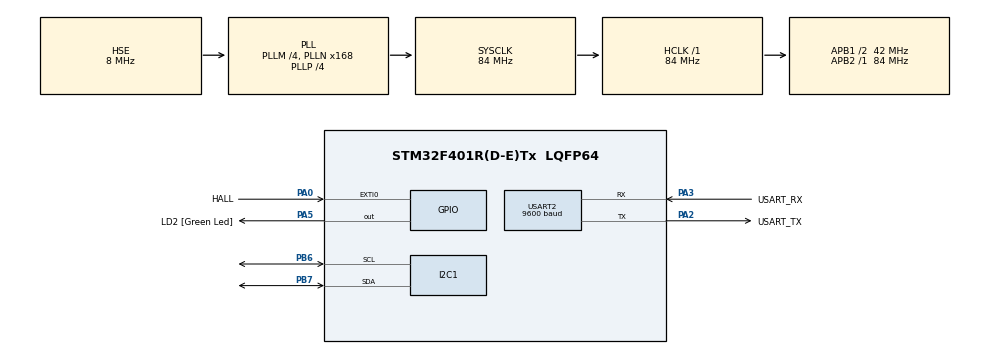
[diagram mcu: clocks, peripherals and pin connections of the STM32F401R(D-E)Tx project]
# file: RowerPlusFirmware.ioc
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I2C1.I2C_Mode=I2C_Fast
Mcu.Family=STM32F4
Mcu.Name=STM32F401R(D-E)Tx
Mcu.Package=LQFP64
NVIC.EXTI0_IRQn=true\:0\:2\:false\:false\:true\:true\:true\:true
NVIC.PriorityGroup=NVIC_PRIORITYGROUP_0
NVIC.TIM1_UP_TIM10_IRQn=true\:0\:1\:false\:false\:true\:true\:true\:true
PA0-WKUP.GPIO_Label=HALL
PA0-WKUP.GPIO_ModeDefaultEXTI=GPIO_MODE_IT_RISING_FALLING
PA0-WKUP.GPIO_PuPd=GPIO_PULLUP
PA0-WKUP.Signal=GPXTI0
PA2.GPIO_Label=USART_TX
PA2.GPIO_Mode=GPIO_MODE_AF_PP
PA2.GPIO_PuPd=GPIO_NOPULL
PA2.GPIO_Speed=GPIO_SPEED_FREQ_LOW
PA2.Mode=Asynchronous
PA2.Signal=USART2_TX
PA3.GPIO_Label=USART_RX
PA3.GPIO_Mode=GPIO_MODE_AF_PP
PA3.GPIO_PuPd=GPIO_NOPULL
PA3.GPIO_Speed=GPIO_SPEED_FREQ_LOW
PA3.Mode=Asynchronous
PA3.Signal=USART2_RX
PA5.GPIO_Label=LD2 [Green Led]
PA5.GPIO_Mode=GPIO_MODE_OUTPUT_PP
PA5.GPIO_PuPd=GPIO_NOPULL
PA5.GPIO_Speed=GPIO_SPEED_FREQ_LOW
PA5.Signal=GPIO_Output
PB6.Mode=I2C
PB6.Signal=I2C1_SCL
PB7.Mode=I2C
PB7.Signal=I2C1_SDA
PH0\ -\ OSC_IN.Mode=HSE-External-Oscillator
PH0\ -\ OSC_IN.Signal=RCC_OSC_IN
PH1\ -\ OSC_OUT.Mode=HSE-External-Oscillator
PH1\ -\ OSC_OUT.Signal=RCC_OSC_OUT
ProjectManager.HeapSize=0x200
ProjectManager.StackSize=0x400
ProjectManager.TargetToolchain=STM32CubeIDE
RCC.48MHZClocksFreq_Value=48000000
RCC.AHBFreq_Value=84000000
RCC.APB1CLKDivider=RCC_HCLK_DIV2
RCC.APB1Freq_Value=42000000
RCC.APB1TimFreq_Value=84000000
RCC.APB2Freq_Value=84000000
RCC.APB2TimFreq_Value=84000000
RCC.CortexFreq_Value=84000000
RCC.HCLKFreq_Value=84000000
RCC.HSE_Timout=100
RCC.HSE_VALUE=8000000
RCC.HSI_VALUE=16000000
RCC.LSE_VALUE=32768
RCC.PLLM=4
RCC.PLLN=168
RCC.PLLP=RCC_PLLP_DIV4
RCC.PLLQ=7
RCC.PLLSourceVirtual=RCC_PLLSOURCE_HSE
RCC.SYSCLKFreq_VALUE=84000000
RCC.SYSCLKSource=RCC_SYSCLKSOURCE_PLLCLK
RCC.VCOOutputFreq_Value=336000000
TIM1.Period=999
TIM1.Prescaler=83
USART2.BaudRate=9600
USART2.VirtualMode=VM_ASYNC
VP_TIM1_VS_ClockSourceINT.Mode=Internal
board=NUCLEO-F401RE

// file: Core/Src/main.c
/* USER CODE BEGIN Header */
/**
  ******************************************************************************
  * @file           : main.c
  * @brief          : Main program body
  ******************************************************************************
  * @attention
  *
  * Copyright (c) 2022 STMicroelectronics.
  * All rights reserved.
  *
  * This software is licensed under terms that can be found in the LICENSE file
  * in the root directory of this software component.
  * If no LICENSE file comes with this software, it is provided AS-IS.
  *
  ******************************************************************************
  */
/* USER CODE END Header */
#include "main.h"

 I2C_HandleTypeDef hi2c1;

TIM_HandleTypeDef htim1;

UART_HandleTypeDef huart2;

/* USER CODE BEGIN PV */
hall_parser_t hall_parser;
storage_data_t storage_data;

out_data_t out_data ={
		.bt = {'B', 'T', 0, 0},
		.energy = 0.0f,
		.mean_power = 0.0f,
		.distance = 0.0f,
		.checksum = 0,
		.pd = {0,0},
		.et = {'E', 'T', 0, 0},
};

BOOL hallIntermittentFlag = FALSE;
/* USER CODE END PV */

void SystemClock_Config(void);
static void MX_GPIO_Init(void);
static void MX_USART2_UART_Init(void);
static void MX_TIM1_Init(void);
static void MX_I2C1_Init(void);
/* USER CODE BEGIN PFP */
void ergometer_stroke(ergometer_stroke_params_t* stroke_params);
void params_received(damping_constants_t* damping_constants);
/* USER CODE END PFP */

int main(void)
{

  /* MCU Configuration--------------------------------------------------------*/

  /* Reset of all peripherals, Initializes the Flash interface and the Systick. */
  HAL_Init();

  /* Configure the system clock */
  SystemClock_Config();

  /* Initialize all configured peripherals */
  MX_GPIO_Init();
  MX_USART2_UART_Init();
  MX_TIM1_Init();
  MX_I2C1_Init();
  /* USER CODE BEGIN 2 */
	hall_parser_init();
	memset(&hall_parser, 0, sizeof(hall_parser_t));

	// We check if we have the parameters stored inside the EEPROM
	// If that's the case, we use them straight away
	if(storage_read(&storage_data))
	{
		hall_parser.damping_constants.ka = storage_data.ka;
		hall_parser.damping_constants.km = storage_data.km;
		hall_parser.damping_constants.ks = storage_data.ks;
		hall_parser.damping_constants.has_params = TRUE;
	}

	hall_parser.callback = ergometer_stroke;
	hall_parser.damping_params_callback = params_received;
	hall_parser.params.I = MOMENT_OF_INERTIA;

	HAL_TIM_Base_Start_IT(&htim1);
  /* USER CODE END 2 */

  /* Infinite loop */
  while (1)
  {

  }
}

void SystemClock_Config(void)
{
  RCC_OscInitTypeDef RCC_OscInitStruct = {0};
  RCC_ClkInitTypeDef RCC_ClkInitStruct = {0};

  /** Configure the main internal regulator output voltage
  */
  __HAL_RCC_PWR_CLK_ENABLE();
  __HAL_PWR_VOLTAGESCALING_CONFIG(PWR_REGULATOR_VOLTAGE_SCALE2);

  /** Initializes the RCC Oscillators according to the specified parameters
  * in the RCC_OscInitTypeDef structure.
  */
  RCC_OscInitStruct.OscillatorType = RCC_OSCILLATORTYPE_HSE;
  RCC_OscInitStruct.HSEState = RCC_HSE_ON;
  RCC_OscInitStruct.PLL.PLLState = RCC_PLL_ON;
  RCC_OscInitStruct.PLL.PLLSource = RCC_PLLSOURCE_HSE;
  RCC_OscInitStruct.PLL.PLLM = 4;
  RCC_OscInitStruct.PLL.PLLN = 168;
  RCC_OscInitStruct.PLL.PLLP = RCC_PLLP_DIV4;
  RCC_OscInitStruct.PLL.PLLQ = 7;
  if (HAL_RCC_OscConfig(&RCC_OscInitStruct) != HAL_OK)
  {
    Error_Handler();
  }

  /** Initializes the CPU, AHB and APB buses clocks
  */
  RCC_ClkInitStruct.ClockType = RCC_CLOCKTYPE_HCLK|RCC_CLOCKTYPE_SYSCLK
                              |RCC_CLOCKTYPE_PCLK1|RCC_CLOCKTYPE_PCLK2;
  RCC_ClkInitStruct.SYSCLKSource = RCC_SYSCLKSOURCE_PLLCLK;
  RCC_ClkInitStruct.AHBCLKDivider = RCC_SYSCLK_DIV1;
  RCC_ClkInitStruct.APB1CLKDivider = RCC_HCLK_DIV2;
  RCC_ClkInitStruct.APB2CLKDivider = RCC_HCLK_DIV1;

  if (HAL_RCC_ClockConfig(&RCC_ClkInitStruct, FLASH_LATENCY_2) != HAL_OK)
  {
    Error_Handler();
  }
}

static void MX_I2C1_Init(void)
{

  hi2c1.Instance = I2C1;
  hi2c1.Init.ClockSpeed = 400000;
  hi2c1.Init.DutyCycle = I2C_DUTYCYCLE_2;
  hi2c1.Init.OwnAddress1 = 0;
  hi2c1.Init.AddressingMode = I2C_ADDRESSINGMODE_7BIT;
  hi2c1.Init.DualAddressMode = I2C_DUALADDRESS_DISABLE;
  hi2c1.Init.OwnAddress2 = 0;
  hi2c1.Init.GeneralCallMode = I2C_GENERALCALL_DISABLE;
  hi2c1.Init.NoStretchMode = I2C_NOSTRETCH_DISABLE;
  if (HAL_I2C_Init(&hi2c1) != HAL_OK)
  {
    Error_Handler();
  }

}

static void MX_TIM1_Init(void)
{

  TIM_ClockConfigTypeDef sClockSourceConfig = {0};
  TIM_MasterConfigTypeDef sMasterConfig = {0};

  htim1.Instance = TIM1;
  htim1.Init.Prescaler = 83;
  htim1.Init.CounterMode = TIM_COUNTERMODE_UP;
  htim1.Init.Period = 999;
  htim1.Init.ClockDivision = TIM_CLOCKDIVISION_DIV1;
  htim1.Init.RepetitionCounter = 0;
  htim1.Init.AutoReloadPreload = TIM_AUTORELOAD_PRELOAD_DISABLE;
  if (HAL_TIM_Base_Init(&htim1) != HAL_OK)
  {
    Error_Handler();
  }
  sClockSourceConfig.ClockSource = TIM_CLOCKSOURCE_INTERNAL;
  if (HAL_TIM_ConfigClockSource(&htim1, &sClockSourceConfig) != HAL_OK)
  {
    Error_Handler();
  }
  sMasterConfig.MasterOutputTrigger = TIM_TRGO_RESET;
  sMasterConfig.MasterSlaveMode = TIM_MASTERSLAVEMODE_DISABLE;
  if (HAL_TIMEx_MasterConfigSynchronization(&htim1, &sMasterConfig) != HAL_OK)
  {
    Error_Handler();
  }

}

static void MX_USART2_UART_Init(void)
{

  huart2.Instance = USART2;
  huart2.Init.BaudRate = 9600;
  huart2.Init.WordLength = UART_WORDLENGTH_8B;
  huart2.Init.StopBits = UART_STOPBITS_1;
  huart2.Init.Parity = UART_PARITY_NONE;
  huart2.Init.Mode = UART_MODE_TX_RX;
  huart2.Init.HwFlowCtl = UART_HWCONTROL_NONE;
  huart2.Init.OverSampling = UART_OVERSAMPLING_16;
  if (HAL_UART_Init(&huart2) != HAL_OK)
  {
    Error_Handler();
  }

}

static void MX_GPIO_Init(void)
{
  GPIO_InitTypeDef GPIO_InitStruct = {0};

  /* GPIO Ports Clock Enable */
  __HAL_RCC_GPIOH_CLK_ENABLE();
  __HAL_RCC_GPIOA_CLK_ENABLE();
  __HAL_RCC_GPIOB_CLK_ENABLE();

  /*Configure GPIO pin Output Level */
  HAL_GPIO_WritePin(LD2_GPIO_Port, LD2_Pin, GPIO_PIN_RESET);

  /*Configure GPIO pin : HALL_Pin */
  GPIO_InitStruct.Pin = HALL_Pin;
  GPIO_InitStruct.Mode = GPIO_MODE_IT_RISING_FALLING;
  GPIO_InitStruct.Pull = GPIO_PULLUP;
  HAL_GPIO_Init(HALL_GPIO_Port, &GPIO_InitStruct);

  /*Configure GPIO pin : LD2_Pin */
  GPIO_InitStruct.Pin = LD2_Pin;
  GPIO_InitStruct.Mode = GPIO_MODE_OUTPUT_PP;
  GPIO_InitStruct.Pull = GPIO_NOPULL;
  GPIO_InitStruct.Speed = GPIO_SPEED_FREQ_LOW;
  HAL_GPIO_Init(LD2_GPIO_Port, &GPIO_InitStruct);

  /* EXTI interrupt init*/
  HAL_NVIC_SetPriority(EXTI0_IRQn, 0, 2);
  HAL_NVIC_EnableIRQ(EXTI0_IRQn);

}

/* USER CODE BEGIN 4 */
void ergometer_stroke(ergometer_stroke_params_t* stroke_params)
{
#ifdef DEBUG_STROKE_PARAMS
	char buffer[32];
	sprintf(buffer, "%.3f,%.3f,%.3f\r\n", stroke_params->energy, stroke_params->mean_power, stroke_params->distance);
	HAL_UART_Transmit(&huart2, buffer, strlen(buffer), 100);
#else
	out_data.energy = stroke_params->energy_kcal;
	out_data.mean_power = stroke_params->mean_power;
	out_data.distance = stroke_params->distance;
	out_data.checksum = 0;

	for(uint8_t* it = (uint8_t*)&out_data; it < (uint8_t*)&out_data + sizeof(out_data_t); it++)
	{
		if(it != (uint8_t*)&out_data.checksum && it != (uint8_t*)&out_data.checksum + 1)
		{
			out_data.checksum += *it;
		}
	}

	HAL_UART_Transmit(&huart2, (uint8_t*)&out_data, sizeof(out_data_t), 100);
#endif
}

void params_received(damping_constants_t* damping_constants)
{
	// Every time we compute new valid parameters we save them into the EEPROM
	storage_data.ka = damping_constants->ka;
	storage_data.km = damping_constants->km;
	storage_data.ks = damping_constants->ks;
	storage_write(&storage_data);
}

void HAL_GPIO_EXTI_Callback(uint16_t GPIO_Pin)
{
	if(GPIO_Pin == HALL_Pin)
	{
		hall_parser_push_trigger(&hall_parser);
	}
}

/* USER CODE END 4 */

void Error_Handler(void)
{
  __disable_irq();
  while (1)
  {
  }
}
